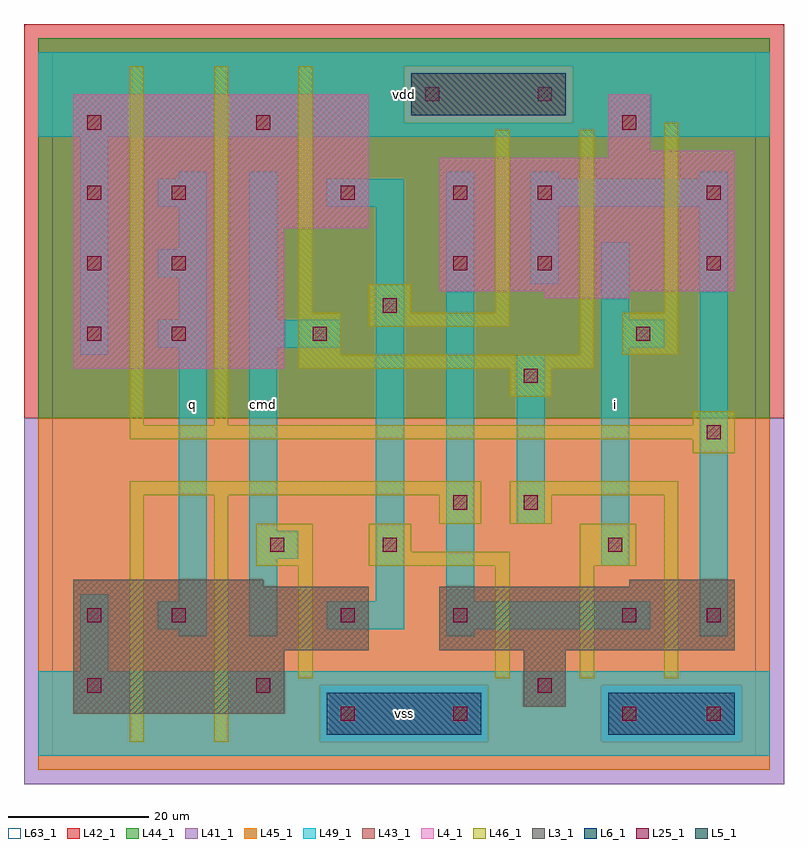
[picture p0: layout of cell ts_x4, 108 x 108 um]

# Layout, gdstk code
import gdstk
lib = gdstk.Library(unit=1e-6, precision=1e-09)
def R(c, l, rs):  # rectangles x0, y0, x1, y1
    for r in rs: c.add(gdstk.rectangle(r[:2], r[2:], *l))
def A(c, l, x, y, w, h, nx, ny, dx, dy):  # array of equal rectangles
    R(c, l, [(x+i*dx, y+j*dy, x+i*dx+w, y+j*dy+h) for i in range(nx) for j in range(ny)])
L3_1 = (3, 1)
L4_1 = (4, 1)
L5_1 = (5, 1)
L6_1 = (6, 1)
L25_1 = (25, 1)
L41_1 = (41, 1)
L42_1 = (42, 1)
L43_1 = (43, 1)
L44_1 = (44, 1)
L45_1 = (45, 1)
L46_1 = (46, 1)
L49_1 = (49, 1)
L63_1 = (63, 1)

ts_x4 = lib.new_cell('ts_x4')
R(ts_x4, L3_1, [(3,6,33,15), (67,7,73,15), (3,15,45,24), (55,15,97,24), (3,24,30,25), (82,24,97,25)])
R(ts_x4, L4_1, [(3,55,33,75), (70,65,82,66), (55,66,97,85), (3,75,45,94), (79,85,97,86), (79,86,85,94)])
R(ts_x4, L5_1, [(51,91,73,97)])
R(ts_x4, L6_1, [(39,3,61,9), (39,3,61,9), (79,3,97,9), (79,3,97,9)])
A(ts_x4, L25_1, 5, 59, 2, 2, 1, 4, 0, 10)
A(ts_x4, L25_1, 17, 59, 2, 2, 1, 3, 0, 10)
R(ts_x4, L25_1, [(41,5,43,7), (57,5,59,7), (81,5,83,7), (93,5,95,7), (5,9,7,11), (29,9,31,11), (69,9,71,11), (5,19,7,21), (17,19,19,21), (41,19,43,21), (57,19,59,21), (81,19,83,21), (93,19,95,21), (31,29,33,31), (47,29,49,31), (79,29,81,31), (57,35,59,37), (67,35,69,37), (93,45,95,47), (67,53,69,55), (37,59,39,61), (83,59,85,61), (47,63,49,65), (57,69,59,71), (69,69,71,71), (93,69,95,71), (41,79,43,81), (57,79,59,81), (69,79,71,81), (93,79,95,81), (29,89,31,91), (81,89,83,91), (53,93,55,95), (69,93,71,95)])
R(ts_x4, L41_1, [(-4,-4,104,48)])
R(ts_x4, L42_1, [(-4,48,104,104)])
R(ts_x4, L43_1, [(39,3,61,9), (79,3,97,9), (3,6,33,15), (67,7,73,15), (3,15,45,24), (55,15,97,24), (3,24,30,25), (82,24,97,25), (3,55,33,75), (70,65,82,66), (55,66,97,85), (3,75,45,94), (79,85,97,86), (79,86,85,94), (51,91,73,97)])
R(ts_x4, L44_1, [(38,2,62,10), (78,2,98,10), (-2,48,102,90), (-2,90,50,98), (74,90,102,98), (-2,98,102,102)])
R(ts_x4, L45_1, [(-2,-2,102,2), (-2,2,38,10), (62,2,78,10), (98,2,102,10), (-2,10,102,48), (50,90,74,98)])
R(ts_x4, L46_1, [(11,2,13,37), (23,2,25,37), (35,11,37,27), (63,11,65,27), (75,11,77,27), (87,11,89,37), (29,27,37,33), (45,27,65,29), (75,27,83,33), (45,29,51,33), (55,33,61,37), (65,33,71,37), (11,37,61,39), (65,37,89,39), (91,43,97,45), (11,45,97,47), (11,47,13,98), (23,47,25,98), (91,47,97,49), (65,51,71,55), (35,55,77,57), (35,57,41,63), (75,57,77,89), (81,57,89,63), (45,61,65,63), (35,63,37,98), (45,63,51,67), (63,63,65,89), (87,63,89,90)])
A(ts_x4, L49_1, 15, 58, 7, 4, 1, 3, 0, 10)
R(ts_x4, L49_1, [(-2,0,102,12), (4,12,8,23), (18,17,22,18), (28,17,32,28), (56,17,60,18), (92,17,96,78), (15,18,22,22), (39,18,50,22), (56,18,85,22), (18,22,22,58), (46,22,50,78), (56,22,60,83), (78,27,82,58), (28,28,35,32), (28,32,32,58), (66,33,70,57), (4,57,8,88), (28,58,41,62), (78,58,87,62), (18,62,22,68), (28,62,32,83), (78,62,82,73), (68,67,72,78), (18,72,22,78), (39,78,50,82), (68,78,96,82), (18,82,22,83), (68,82,72,83), (92,82,96,83), (-2,88,102,100)])
R(ts_x4, L63_1, [(0,0,100,100)])
ts_x4.add(gdstk.Label('q', (20,50), layer=49, texttype=1))
ts_x4.add(gdstk.Label('cmd', (30,50), layer=49, texttype=1))
ts_x4.add(gdstk.Label('vss', (50,6), layer=49, texttype=1))
ts_x4.add(gdstk.Label('vdd', (50,94), layer=49, texttype=1))
ts_x4.add(gdstk.Label('i', (80,50), layer=49, texttype=1))

lib.write_gds('ts_x4.gds')
